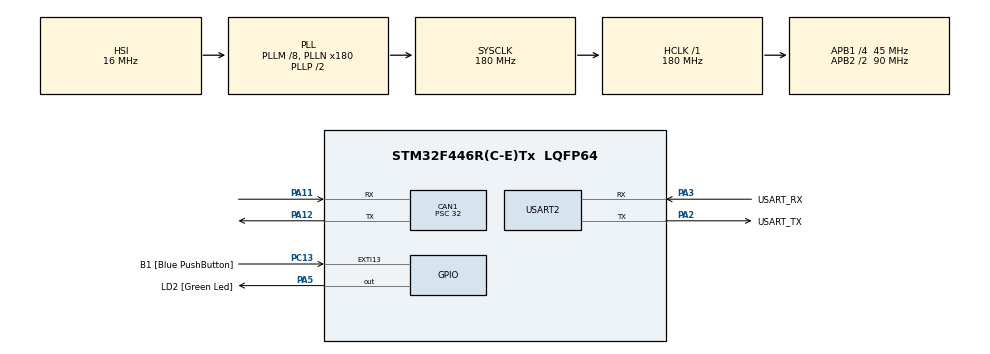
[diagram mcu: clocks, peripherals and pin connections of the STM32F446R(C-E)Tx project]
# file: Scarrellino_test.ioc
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CAN1.BS1=CAN_BS1_6TQ
CAN1.BS2=CAN_BS2_4TQ
CAN1.CalculateBaudRate=127840
CAN1.CalculateTimeBit=7822
CAN1.CalculateTimeQuantum=711.1111111111111
CAN1.Mode=CAN_MODE_LOOPBACK
CAN1.NART=ENABLE
CAN1.Prescaler=32
Mcu.Family=STM32F4
Mcu.Name=STM32F446R(C-E)Tx
Mcu.Package=LQFP64
NVIC.CAN1_RX0_IRQn=true\:0\:0\:false\:false\:true\:true\:true\:true
NVIC.CAN1_RX1_IRQn=true\:0\:0\:false\:false\:true\:true\:true\:true
NVIC.CAN1_SCE_IRQn=true\:0\:0\:false\:false\:true\:true\:true\:true
NVIC.CAN1_TX_IRQn=true\:0\:0\:false\:false\:true\:true\:true\:true
NVIC.PriorityGroup=NVIC_PRIORITYGROUP_0
NVIC.USART2_IRQn=true\:0\:0\:false\:false\:true\:true\:true\:true
PA11.Mode=CAN_Activate
PA11.Signal=CAN1_RX
PA12.Mode=CAN_Activate
PA12.Signal=CAN1_TX
PA13.GPIO_Label=TMS
PA13.Mode=JTAG_5_pins
PA13.Signal=SYS_JTMS-SWDIO
PA14.GPIO_Label=TCK
PA14.Mode=JTAG_5_pins
PA14.Signal=SYS_JTCK-SWCLK
PA15.Mode=JTAG_5_pins
PA15.Signal=SYS_JTDI
PA2.GPIO_Label=USART_TX
PA2.Mode=Asynchronous
PA2.Signal=USART2_TX
PA3.GPIO_Label=USART_RX
PA3.Mode=Asynchronous
PA3.Signal=USART2_RX
PA5.GPIO_Label=LD2 [Green Led]
PA5.Signal=GPIO_Output
PB3.GPIO_Label=SWO
PB3.Mode=JTAG_5_pins
PB3.Signal=SYS_JTDO-SWO
PB4.Mode=JTAG_5_pins
PB4.Signal=SYS_JTRST
PC13.GPIO_Label=B1 [Blue PushButton]
PC13.GPIO_ModeDefaultEXTI=GPIO_MODE_IT_FALLING
PC13.Signal=GPXTI13
ProjectManager.HeapSize=0x200
ProjectManager.StackSize=0x400
ProjectManager.TargetToolchain=Makefile
RCC.AHBFreq_Value=180000000
RCC.APB1CLKDivider=RCC_HCLK_DIV4
RCC.APB1Freq_Value=45000000
RCC.APB1TimFreq_Value=90000000
RCC.APB2CLKDivider=RCC_HCLK_DIV2
RCC.APB2Freq_Value=90000000
RCC.APB2TimFreq_Value=180000000
RCC.CortexFreq_Value=180000000
RCC.FLatency-AdvancedSettings=FLASH_LATENCY_5
RCC.HCLKFreq_Value=180000000
RCC.HSE_VALUE=8000000
RCC.HSI_VALUE=16000000
RCC.LSE_VALUE=32768
RCC.PLLM=8
RCC.PLLN=180
RCC.SYSCLKFreq_VALUE=180000000
RCC.SYSCLKSource=RCC_SYSCLKSOURCE_PLLCLK
RCC.USBFreq_Value=180000000
RCC.VCOOutputFreq_Value=360000000
USART2.VirtualMode=VM_ASYNC
board=NUCLEO-F446RE

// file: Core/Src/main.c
/* USER CODE BEGIN Header */
/**
  ******************************************************************************
  * @file           : main.c
  * @brief          : Main program body
  ******************************************************************************
  * @attention
  *
  * Copyright (c) 2024 STMicroelectronics.
  * All rights reserved.
  *
  * This software is licensed under terms that can be found in the LICENSE file
  * in the root directory of this software component.
  * If no LICENSE file comes with this software, it is provided AS-IS.
  *
  ******************************************************************************
  */
/* USER CODE END Header */
#include "main.h"
#include "can.h"
#include "usart.h"
#include "gpio.h"

/* USER CODE BEGIN Includes */
#include "stdio.h"
#include "string.h"
#include "mcb.h"
#include "can_functions.h"
/* USER CODE END Includes */

void SystemClock_Config(void);

/* USER CODE BEGIN 0 */

CAN_RxHeaderTypeDef   RxHeader;
CAN_TxHeaderTypeDef   TxHeader;
uint32_t              txmailbox;
uint8_t         RxData[8];
uint32_t              rxfifo;

uint8_t tlb_battery_shut_buffer;
uint8_t tlb_battery_tsal_buffer;
uint8_t tlb_battery_shut_id  = 0b0;
uint8_t tlb_battery_tsal_id  = 0b1;

/* USER CODE END 0 */

int main(void)
{

  /* MCU Configuration--------------------------------------------------------*/

  /* Reset of all peripherals, Initializes the Flash interface and the Systick. */
  HAL_Init();

  /* USER CODE BEGIN Init */

  // variabili per la CAN
 // uint8_t dati[3] = {4, 6, 7};

  /* USER CODE END Init */

  /* Configure the system clock */
  SystemClock_Config();

  /* Initialize all configured peripherals */
  MX_GPIO_Init();
  MX_CAN1_Init();
  MX_USART2_UART_Init();
  /* USER CODE BEGIN 2 */

// parametri e costruzione della struct per l'invio con formato dcb

double pre_ams_imd = 0;
double post_ams_latch = 0;
double post_ams_imd = 0;
double pre_tlb_batt = 0;
double ams_error_latch = 0;
double imd_error_latch = 0;
double sd_prch_rly = 0;

double tsal_green = 1;
double air_pos_closed = 1;
double air_neg_closed = 1;
double relay_precharge_closed = 1;
double dc_bus_over60 = 0;
double air_pos_intentional = 1;
double air_neg_intentional = 1;
double intentional_state_relay_precharge = 1;
double short2_gnd_air_pos = 0;
double short2_gnd_air_neg = 0;
double is_any_short2_gnd_present = 0;
double is_any_imp_present = 0;
double is_air_pos_imp_present = 0;

struct mcb_tlb_battery_shut_status_t tlb_shut;
struct mcb_tlb_battery_tsal_status_t tlb_tsal;
struct mcb_sens_front_1_t can_front;

//mcb_tlb_battery_shut packing
mcb_tlb_battery_shut_status_init(&tlb_shut);

tlb_shut.is_shut_closed_pre_ams_imd_latch = mcb_tlb_battery_shut_status_is_shut_closed_pre_ams_imd_latch_encode(pre_ams_imd);
tlb_shut.is_shut_closed_post_ams_latch = mcb_tlb_battery_shut_status_is_shut_closed_post_ams_latch_encode(post_ams_latch);
tlb_shut.is_shut_closed_post_imd_latch = mcb_tlb_battery_shut_status_is_shut_closed_post_imd_latch_encode(post_ams_imd);
tlb_shut.is_shutdown_closed_pre_tlb_batt_final = mcb_tlb_battery_shut_status_is_shutdown_closed_pre_tlb_batt_final_encode(pre_tlb_batt);
tlb_shut.is_ams_error_latched = mcb_tlb_battery_shut_status_is_ams_error_latched_encode(ams_error_latch);
tlb_shut.is_imd_error_latched = mcb_tlb_battery_shut_status_is_imd_error_latched_encode(imd_error_latch);
tlb_shut.is_sd_prch_rly_closed = mcb_tlb_battery_shut_status_is_sd_prch_rly_closed_encode(sd_prch_rly);

mcb_tlb_battery_shut_status_pack(&tlb_battery_shut_buffer, &tlb_shut, sizeof(tlb_shut));

//mcb_tlb_battery_tsal packing
mcb_tlb_battery_tsal_status_init(&tlb_tsal);

tlb_tsal.tsal_is_green_on = mcb_tlb_battery_tsal_status_tsal_is_green_on_encode(tsal_green);
tlb_tsal.tsal_is_air_pos_closed = mcb_tlb_battery_tsal_status_tsal_is_air_pos_closed_encode(air_pos_closed);
tlb_tsal.tsal_is_air_neg_closed = mcb_tlb_battery_tsal_status_tsal_is_air_neg_closed_encode(air_neg_closed);
tlb_tsal.tsal_is_relay_precharge_closed = mcb_tlb_battery_tsal_status_tsal_is_relay_precharge_closed_encode(relay_precharge_closed);
tlb_tsal.tsal_is_dc_bus_over60_v =  mcb_tlb_battery_tsal_status_tsal_is_dc_bus_over60_v_encode(dc_bus_over60);
tlb_tsal.intentional_state_air_pos = mcb_tlb_battery_tsal_status_intentional_state_air_pos_encode(air_pos_intentional);
tlb_tsal.intentional_state_air_neg = mcb_tlb_battery_tsal_status_intentional_state_air_neg_encode(air_neg_intentional);
tlb_tsal.intentional_state_relay_precharge = mcb_tlb_battery_tsal_status_intentional_state_relay_precharge_encode(intentional_state_relay_precharge);
tlb_tsal.scs_short2_gnd_air_pos = mcb_tlb_battery_tsal_status_scs_short2_gnd_air_pos_encode(short2_gnd_air_pos);
tlb_tsal.scs_short2_gnd_air_neg = mcb_tlb_battery_tsal_status_scs_short2_gnd_air_neg_encode(short2_gnd_air_neg);
tlb_tsal.scs_is_any_short2_gnd_present = mcb_tlb_battery_tsal_status_scs_is_any_short2_gnd_present_encode(is_any_short2_gnd_present);
tlb_tsal.imp_is_any_imp_present = mcb_tlb_battery_tsal_status_imp_is_any_imp_present_encode(is_any_imp_present);
tlb_tsal.imp_is_air_pos_imp_present = mcb_tlb_battery_tsal_status_imp_is_air_pos_imp_present_encode(is_air_pos_imp_present);
//...

mcb_tlb_battery_tsal_status_pack(&tlb_battery_tsal_buffer,&tlb_tsal, sizeof(tlb_tsal));

uint8_t dati;

// attivazione
if(HAL_CAN_Start(&hcan1) != HAL_OK){
    Error_Handler();
  }
  else( HAL_UART_Transmit(&huart2, (uint8_t *)"\n\rCAN pronta\n\r", strlen("\n\rCAN pronta\n\r"), HAL_MAX_DELAY));

 // attivazione interrupt Rx
if (HAL_CAN_ActivateNotification(&hcan1,
    CAN_IT_RX_FIFO0_MSG_PENDING |
    CAN_IT_ERROR_WARNING |
    CAN_IT_ERROR_PASSIVE |
    CAN_IT_BUSOFF |
    CAN_IT_LAST_ERROR_CODE |
    CAN_IT_ERROR |
    CAN_IT_TX_MAILBOX_EMPTY
  ) != HAL_OK)
  {
    HAL_UART_Transmit(&huart2, (uint8_t *)"errore attivazione IT\n\r", strlen("errore attivazione IT\n\r"), HAL_MAX_DELAY);
	  Error_Handler();
  }

// impostazioni e Tx can
TxHeader.DLC = 1;
TxHeader.IDE = CAN_ID_STD;
TxHeader.StdId = tlb_battery_shut_id;
TxHeader.ExtId = 0;
TxHeader.RTR = CAN_RTR_DATA;
TxHeader.TransmitGlobalTime = DISABLE;

can_send(&hcan1, &tlb_battery_shut_buffer, &TxHeader, CAN_RX_FIFO0);

//TxHeader.StdId = tlb_battery_tsal_id;

//can_send(&hcan1, tlb_battery_tsal_buffer, &TxHeader);

/*
while (HAL_CAN_GetTxMailboxesFreeLevel(&hcan1) == 0);

//invio messaggio can

if (HAL_CAN_AddTxMessage(&hcan1, &TxHeader, &dati, &txmailbox) != HAL_OK){

        Error_Handler();
    }

*/

  /* USER CODE END 2 */

  /* Infinite loop */
  while (1)
  {

  }
}

void SystemClock_Config(void)
{
  RCC_OscInitTypeDef RCC_OscInitStruct = {0};
  RCC_ClkInitTypeDef RCC_ClkInitStruct = {0};

  /** Configure the main internal regulator output voltage
  */
  __HAL_RCC_PWR_CLK_ENABLE();
  __HAL_PWR_VOLTAGESCALING_CONFIG(PWR_REGULATOR_VOLTAGE_SCALE1);

  /** Initializes the RCC Oscillators according to the specified parameters
  * in the RCC_OscInitTypeDef structure.
  */
  RCC_OscInitStruct.OscillatorType = RCC_OSCILLATORTYPE_HSI;
  RCC_OscInitStruct.HSIState = RCC_HSI_ON;
  RCC_OscInitStruct.HSICalibrationValue = RCC_HSICALIBRATION_DEFAULT;
  RCC_OscInitStruct.PLL.PLLState = RCC_PLL_ON;
  RCC_OscInitStruct.PLL.PLLSource = RCC_PLLSOURCE_HSI;
  RCC_OscInitStruct.PLL.PLLM = 8;
  RCC_OscInitStruct.PLL.PLLN = 180;
  RCC_OscInitStruct.PLL.PLLP = RCC_PLLP_DIV2;
  RCC_OscInitStruct.PLL.PLLQ = 2;
  RCC_OscInitStruct.PLL.PLLR = 2;
  if (HAL_RCC_OscConfig(&RCC_OscInitStruct) != HAL_OK)
  {
    Error_Handler();
  }

  /** Activate the Over-Drive mode
  */
  if (HAL_PWREx_EnableOverDrive() != HAL_OK)
  {
    Error_Handler();
  }

  /** Initializes the CPU, AHB and APB buses clocks
  */
  RCC_ClkInitStruct.ClockType = RCC_CLOCKTYPE_HCLK|RCC_CLOCKTYPE_SYSCLK
                              |RCC_CLOCKTYPE_PCLK1|RCC_CLOCKTYPE_PCLK2;
  RCC_ClkInitStruct.SYSCLKSource = RCC_SYSCLKSOURCE_PLLCLK;
  RCC_ClkInitStruct.AHBCLKDivider = RCC_SYSCLK_DIV1;
  RCC_ClkInitStruct.APB1CLKDivider = RCC_HCLK_DIV4;
  RCC_ClkInitStruct.APB2CLKDivider = RCC_HCLK_DIV2;

  if (HAL_RCC_ClockConfig(&RCC_ClkInitStruct, FLASH_LATENCY_5) != HAL_OK)
  {
    Error_Handler();
  }
}

void Error_Handler(void)
{
  __disable_irq();
  while (1)
  {
  }
}
